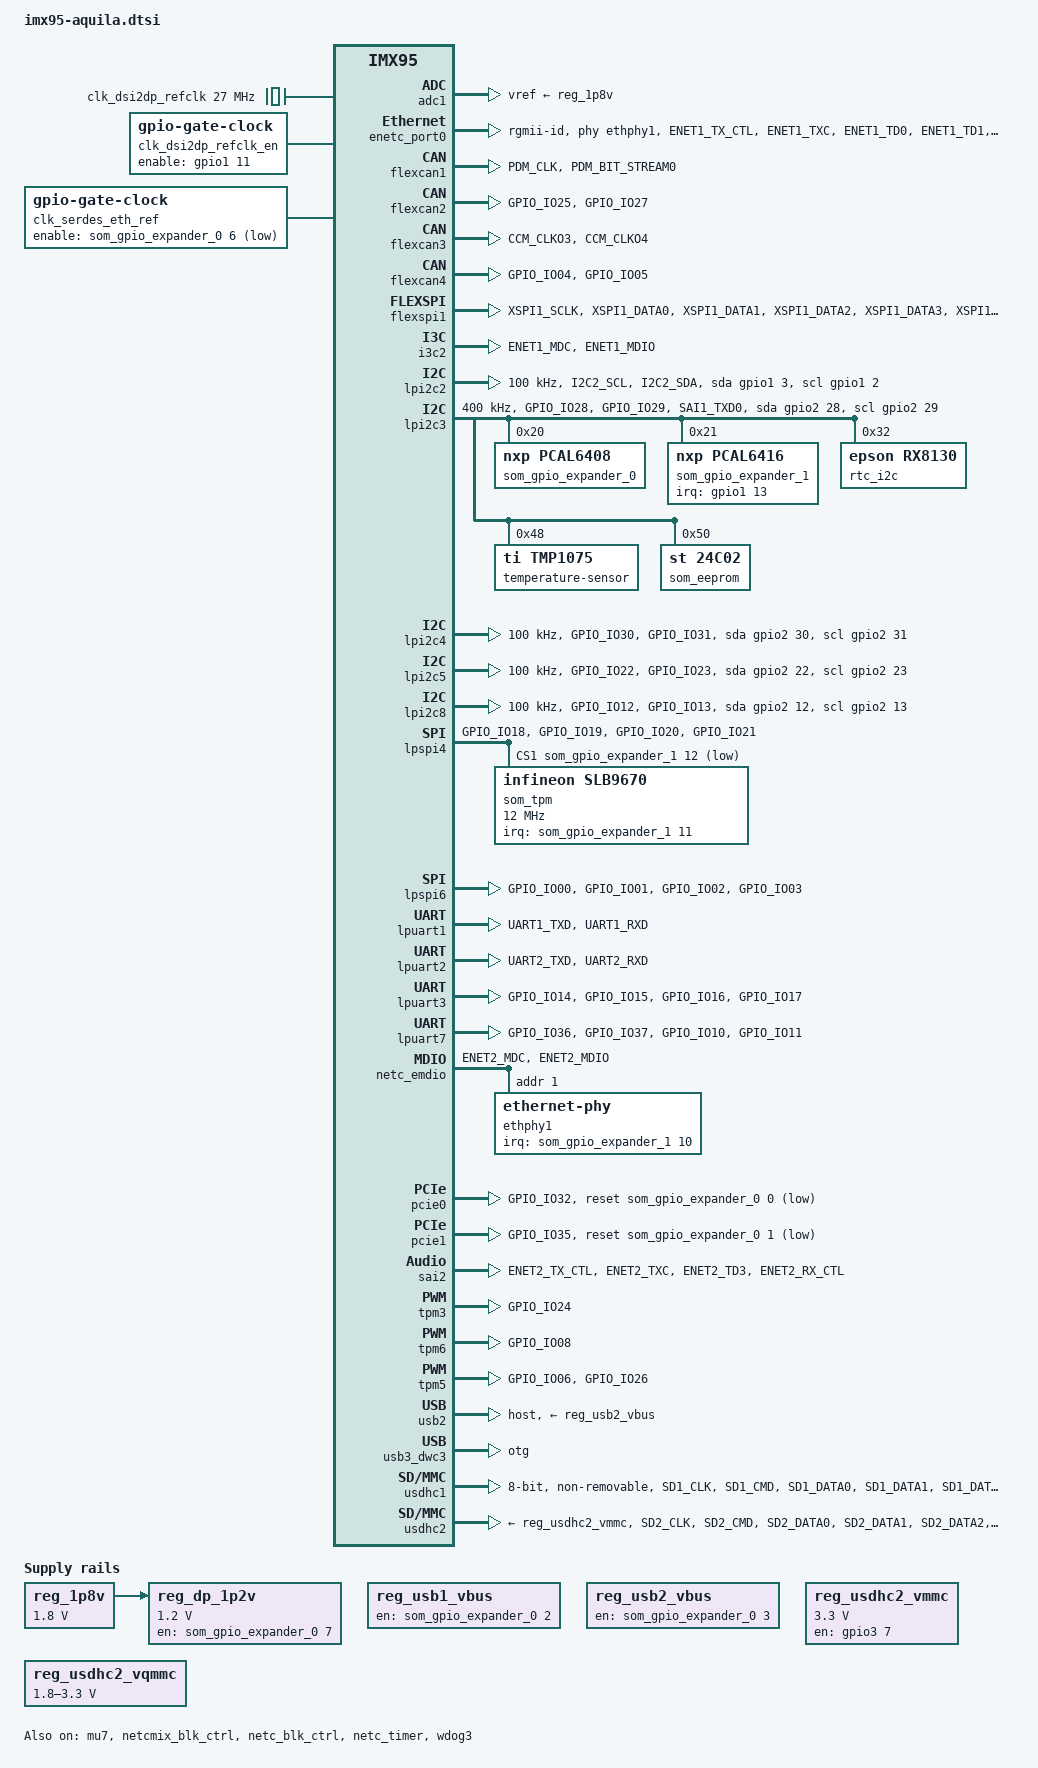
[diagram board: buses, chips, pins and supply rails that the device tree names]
// SPDX-License-Identifier: GPL-2.0-or-later OR MIT
/*
 * Copyright (c) Toradex
 *
 * https://www.toradex.com/computer-on-modules/aquila-arm-family/nxp-imx95
 */

#include <dt-bindings/net/ti-dp83867.h>
#include "imx95.dtsi"

/ {
	aliases {
		can0 = &flexcan1;
		can1 = &flexcan2;
		can2 = &flexcan3;
		can3 = &flexcan4;
		eeprom0 = &som_eeprom;
		ethernet0 = &enetc_port0;
		i2c0 = &lpi2c3;
		i2c1 = &lpi2c2;
		i2c2 = &i3c2;
		i2c3 = &lpi2c8;
		i2c4 = &lpi2c4;
		i2c6 = &lpi2c5;
		mmc0 = &usdhc1;
		mmc1 = &usdhc2;
		rtc0 = &rtc_i2c;
		rtc1 = &scmi_bbm;
		serial0 = &lpuart3;
		serial1 = &lpuart7;
		serial2 = &lpuart1;
		serial3 = &lpuart2;
		usb0 = &usb3;
		usb1 = &usb2;
	};

	chosen {
		stdout-path = "serial2:115200n8";
	};

	aquila_key_wake: gpio-key-wakeup {
		compatible = "gpio-keys";
		pinctrl-names = "default";
		pinctrl-0 = <&pinctrl_ctrl_wake1_mico>;

		status = "disabled";

		key-wakeup {
			/* Aquila CTRL_WAKE1_MICO# */
			gpios = <&gpio5 11 GPIO_ACTIVE_LOW>;
			label = "Wake Up";
			wakeup-source;
			linux,code = <KEY_WAKEUP>;
		};
	};

	clk_dsi2dp_refclk: clock-dsi2dp-refclk {
		compatible = "fixed-clock";
		#clock-cells = <0>;
		clock-frequency = <27000000>;
	};

	clk_dsi2dp_refclk_en: clock-dsi2dp-refclk-en {
		compatible = "gpio-gate-clock";
		pinctrl-names = "default";
		pinctrl-0 = <&pinctrl_ctrl_dp_clk_en>;
		clocks = <&clk_dsi2dp_refclk>;
		#clock-cells = <0>;
		/* CTRL_DP_CLK_EN */
		enable-gpios = <&gpio1 11 GPIO_ACTIVE_HIGH>;
	};

	clk_serdes_eth_ref: clock-serdes-eth-ref {
		compatible = "gpio-gate-clock";
		#clock-cells = <0>;
		/* CTRL_ETH_REF_CLK_STBY */
		enable-gpios = <&som_gpio_expander_0 6 GPIO_ACTIVE_LOW>;
	};

	reg_1p8v: regulator-1p8v {
		compatible = "regulator-fixed";
		regulator-max-microvolt = <1800000>;
		regulator-min-microvolt = <1800000>;
		regulator-name = "On-module +V1.8";
	};

	reg_dp_1p2v: regulator-dp-1p2v {
		compatible = "regulator-fixed";
		/* CTRL_DP_BRIDGE_EN */
		gpios = <&som_gpio_expander_0 7 GPIO_ACTIVE_HIGH>;
		enable-active-high;
		regulator-always-on;
		regulator-max-microvolt = <1200000>;
		regulator-min-microvolt = <1200000>;
		regulator-name = "On-module +V1.2_DP";
		vin-supply = <&reg_1p8v>;
	};

	reg_usb1_vbus: regulator-usb1-vbus {
		compatible = "regulator-fixed";
		/* Aquila USB_1_EN */
		gpios = <&som_gpio_expander_0 2 GPIO_ACTIVE_HIGH>;
		enable-active-high;
		regulator-name = "USB_1_EN";
	};

	reg_usb2_vbus: regulator-usb2-vbus {
		compatible = "regulator-fixed";
		/* Aquila USB_2_EN */
		gpios = <&som_gpio_expander_0 3 GPIO_ACTIVE_HIGH>;
		enable-active-high;
		regulator-name = "USB_2_H_EN";
	};

	reg_usdhc2_vmmc: regulator-usdhc2-vmmc {
		compatible = "regulator-fixed";
		pinctrl-names = "default";
		pinctrl-0 = <&pinctrl_sd1_pwr_en>;
		/* Aquila SD_1_PWR_EN */
		gpios = <&gpio3 7 GPIO_ACTIVE_HIGH>;
		enable-active-high;
		off-on-delay-us = <100000>;
		regulator-max-microvolt = <3300000>;
		regulator-min-microvolt = <3300000>;
		regulator-name = "SD_1_PWR_EN";
		startup-delay-us = <20000>;
	};

	reg_usdhc2_vqmmc: regulator-usdhc2-vqmmc {
		compatible = "regulator-gpio";
		/* PMIC_SD_1_VSEL */
		gpios = <&som_gpio_expander_1 9 GPIO_ACTIVE_HIGH>;
		regulator-max-microvolt = <3300000>;
		regulator-min-microvolt = <1800000>;
		regulator-name = "PMIC_SD_1_VSEL";
		states = <1800000 0x1>,
			 <3300000 0x0>;
	};

	remoteproc-cm7 {
		compatible = "fsl,imx95-cm7";
		mboxes = <&mu7 0 1 &mu7 1 1 &mu7 3 1>;
		mbox-names = "tx", "rx", "rxdb";
		memory-region = <&vdevbuffer>, <&vdev0vring0>, <&vdev0vring1>,
				<&vdev1vring0>, <&vdev1vring1>, <&rsc_table>, <&m7_reserved>;
	};

	reserved-memory {
		#address-cells = <2>;
		#size-cells = <2>;
		ranges;

		linux_cma: linux,cma {
			compatible = "shared-dma-pool";
			reusable;
			size = <0 0x3c000000>;
			alloc-ranges = <0 0x80000000 0 0x7f000000>;
			linux,cma-default;
		};

		m7_reserved: memory@80000000 {
			reg = <0 0x80000000 0 0x1000000>;
			no-map;
		};

		rsc_table: rsc-table@88220000 {
			reg = <0 0x88220000 0 0x1000>;
			no-map;
		};

		vdev0vring0: vdev0vring0@88000000 {
			reg = <0 0x88000000 0 0x8000>;
			no-map;
		};

		vdev0vring1: vdev0vring1@88008000 {
			reg = <0 0x88008000 0 0x8000>;
			no-map;
		};

		vdev1vring0: vdev1vring0@88010000 {
			reg = <0 0x88010000 0 0x8000>;
			no-map;
		};

		vdev1vring1: vdev1vring1@88018000 {
			reg = <0 0x88018000 0 0x8000>;
			no-map;
		};

		vdevbuffer: vdevbuffer@88020000 {
			compatible = "shared-dma-pool";
			reg = <0 0x88020000 0 0x100000>;
			no-map;
		};
	};
};

/* Aquila ADC_[1-4] */
&adc1 {
	vref-supply = <&reg_1p8v>;
};

/* Aquila ETH_1 */
&enetc_port0 {
	pinctrl-names = "default";
	pinctrl-0 = <&pinctrl_enetc0>;
	phy-handle = <&ethphy1>;
	phy-mode = "rgmii-id";
};

/* Aquila CAN_1 */
&flexcan1 {
	pinctrl-names = "default";
	pinctrl-0 = <&pinctrl_flexcan1>;
};

/* Aquila CAN_2 */
&flexcan2 {
	pinctrl-names = "default";
	pinctrl-0 = <&pinctrl_flexcan2>;
};

/* Aquila CAN_3 */
&flexcan3 {
	pinctrl-names = "default";
	pinctrl-0 = <&pinctrl_flexcan3>;
};

/* Aquila CAN_4 */
&flexcan4 {
	pinctrl-names = "default";
	pinctrl-0 = <&pinctrl_flexcan4>;
};

/* Aquila QSPI_1 */
&flexspi1 {
	pinctrl-names = "default";
	pinctrl-0 = <&pinctrl_flexspi1_8bit>,
		    <&pinctrl_qspi_cs1>;
};

&gpio1 {
	gpio-line-names = "", /* 0 */
			  "",
			  "",
			  "",
			  "",
			  "",
			  "",
			  "",
			  "",
			  "",
			  "AQUILA_C24", /* 10 */
			  "",
			  "AQUILA_B17",
			  "CTRL_GPIO_EXP_INT#",
			  "AQUILA_B18";

	status = "okay";
};

&gpio2 {
	gpio-line-names = "", /* 0 */
			  "",
			  "",
			  "",
			  "",
			  "",
			  "",
			  "AQUILA_B42",
			  "",
			  "AQUILA_B43";
};

&gpio3 {
	gpio-line-names = "", /* 0 */
			  "",
			  "",
			  "",
			  "",
			  "",
			  "",
			  "",
			  "",
			  "",
			  "", /* 10 */
			  "",
			  "",
			  "",
			  "",
			  "",
			  "",
			  "",
			  "",
			  "AQUILA_A11",
			  "", /* 20 */
			  "AQUILA_B57",
			  "AQUILA_B19";
};

&gpio4 {
	gpio-line-names = "", /* 0 */
			  "",
			  "",
			  "",
			  "",
			  "",
			  "",
			  "",
			  "",
			  "",
			  "", /* 10 */
			  "",
			  "",
			  "",
			  "",
			  "",
			  "",
			  "AQUILA_C22",
			  "AQUILA_C21",
			  "AQUILA_C20",
			  "", /* 20 */
			  "",
			  "",
			  "AQUILA_C23",
			  "AQUILA_D23",
			  "AQUILA_D24",
			  "",
			  "AQUILA_D25";
};

&gpio5 {
	gpio-line-names = "", /* 0 */
			  "",
			  "",
			  "",
			  "",
			  "",
			  "",
			  "",
			  "",
			  "",
			  "", /* 10 */
			  "",
			  "",
			  "AQUILA_B44",
			  "AQUILA_B45";
};

/* Aquila I2C_2 */
&i3c2 {
	pinctrl-names = "default";
	pinctrl-0 = <&pinctrl_i3c2>;
	i2c-scl-hz = <100000>;
};

/* Aquila I2C_1 */
&lpi2c2 {
	pinctrl-names = "default", "gpio";
	pinctrl-0 = <&pinctrl_lpi2c2>;
	pinctrl-1 = <&pinctrl_lpi2c2_gpio>;
	#address-cells = <1>;
	#size-cells = <0>;
	clock-frequency = <100000>;
	scl-gpios = <&gpio1 2 (GPIO_ACTIVE_HIGH | GPIO_OPEN_DRAIN)>;
	sda-gpios = <&gpio1 3 (GPIO_ACTIVE_HIGH | GPIO_OPEN_DRAIN)>;
};

/* On-module I2C - I2C_SOM */
&lpi2c3 {
	pinctrl-names = "default", "gpio";
	pinctrl-0 = <&pinctrl_lpi2c3>, <&pinctrl_ctrl_gpio_exp_int>;
	pinctrl-1 = <&pinctrl_lpi2c3_gpio>, <&pinctrl_ctrl_gpio_exp_int>;
	#address-cells = <1>;
	#size-cells = <0>;
	clock-frequency = <400000>;
	scl-gpios = <&gpio2 29 (GPIO_ACTIVE_HIGH | GPIO_OPEN_DRAIN)>;
	sda-gpios = <&gpio2 28 (GPIO_ACTIVE_HIGH | GPIO_OPEN_DRAIN)>;

	status = "okay";

	som_gpio_expander_0: gpio@20 {
		compatible = "nxp,pcal6408";
		reg = <0x20>;
		#gpio-cells = <2>;
		gpio-controller;
		gpio-line-names =
			"AQUILA_C38", /* 0 */
			"PCIE_2_RESET#",
			"AQUILA_B77",
			"USB_2_H_EN",
			"BT_DISABLE#",
			"WIFI_DISABLE#",
			"CTRL_ETH_REF_CLK_STBY",
			"CTRL_DP_BRIDGE_EN";
	};

	som_gpio_expander_1: gpio@21 {
		compatible = "nxp,pcal6416";
		reg = <0x21>;
		#interrupt-cells = <2>;
		interrupt-controller;
		interrupt-parent = <&gpio1>;
		interrupts = <13 IRQ_TYPE_LEVEL_LOW>;
		#gpio-cells = <2>;
		gpio-controller;
		gpio-line-names =
			"AQUILA_C1", /* 0 */
			"AQUILA_C2",
			"AQUILA_C3",
			"AQUILA_C4",
			"AQUILA_C36",
			"AQUILA_B74",
			"AQUILA_B75",
			"USB_2_H_OC#",
			"AQUILA_B81",
			"PMIC_SD_1_VSEL",
			"ETH_1_INT#", /* 10 */
			"CTRL_TPM_INT#",
			"SPI_2_CS2_TPM",
			"PCIE_WAKE_WIFI#",
			"WIFI_WAKE_BT",
			"WIFI_WAKEUP_HOST";
	};

	som_dsi2dp_bridge: bridge@2c {
		compatible = "ti,sn65dsi86";
		reg = <0x2c>;
		clocks = <&clk_dsi2dp_refclk_en>;
		clock-names = "refclk";
		vcc-supply = <&reg_dp_1p2v>;
		vcca-supply = <&reg_dp_1p2v>;
		vccio-supply = <&reg_1p8v>;
		vpll-supply = <&reg_1p8v>;

		status = "disabled";

		ports {
			#address-cells = <1>;
			#size-cells = <0>;

			port@0 {
				reg = <0>;

				dsi2dp_in: endpoint {
				};
			};

			port@1 {
				reg = <1>;

				dsi2dp_out: endpoint {
					data-lanes = <3 2 1 0>;
				};
			};
		};
	};

	rtc_i2c: rtc@32 {
		compatible = "epson,rx8130";
		reg = <0x32>;
	};

	temperature-sensor@48 {
		compatible = "ti,tmp1075";
		reg = <0x48>;
	};

	som_eeprom: eeprom@50 {
		compatible = "st,24c02", "atmel,24c02";
		reg = <0x50>;
		pagesize = <16>;
	};
};

/* Aquila I2C_4_CSI1 */
&lpi2c4 {
	pinctrl-names = "default", "gpio";
	pinctrl-0 = <&pinctrl_lpi2c4>;
	pinctrl-1 = <&pinctrl_lpi2c4_gpio>;
	#address-cells = <1>;
	#size-cells = <0>;
	clock-frequency = <100000>;
	scl-gpios = <&gpio2 31 (GPIO_ACTIVE_HIGH | GPIO_OPEN_DRAIN)>;
	sda-gpios = <&gpio2 30 (GPIO_ACTIVE_HIGH | GPIO_OPEN_DRAIN)>;
};

/* Aquila I2C_6 */
&lpi2c5 {
	pinctrl-names = "default", "gpio";
	pinctrl-0 = <&pinctrl_lpi2c5>;
	pinctrl-1 = <&pinctrl_lpi2c5_gpio>;
	#address-cells = <1>;
	#size-cells = <0>;
	clock-frequency = <100000>;
	scl-gpios = <&gpio2 23 (GPIO_ACTIVE_HIGH | GPIO_OPEN_DRAIN)>;
	sda-gpios = <&gpio2 22 (GPIO_ACTIVE_HIGH | GPIO_OPEN_DRAIN)>;
};

/* Aquila I2C_3_DSI1/I2C_5_CSI2 */
&lpi2c8 {
	pinctrl-names = "default", "gpio";
	pinctrl-0 = <&pinctrl_lpi2c8>;
	pinctrl-1 = <&pinctrl_lpi2c8_gpio>;
	#address-cells = <1>;
	#size-cells = <0>;
	clock-frequency = <100000>;
	scl-gpios = <&gpio2 13 (GPIO_ACTIVE_HIGH | GPIO_OPEN_DRAIN)>;
	sda-gpios = <&gpio2 12 (GPIO_ACTIVE_HIGH | GPIO_OPEN_DRAIN)>;
};

/* Aquila SPI_2 */
&lpspi4 {
	pinctrl-names = "default";
	pinctrl-0 = <&pinctrl_lpspi4>;
	cs-gpios = <&gpio2 18 GPIO_ACTIVE_LOW>,
		   <&som_gpio_expander_1 12 GPIO_ACTIVE_LOW>;

	status = "okay";

	som_tpm: tpm@1 {
		compatible = "infineon,slb9670", "tcg,tpm_tis-spi";
		reg = <0x1>;
		interrupt-parent = <&som_gpio_expander_1>;
		interrupts = <11 IRQ_TYPE_EDGE_FALLING>;
		/*
		 * Maximum TPM-supported speed is 18.5 MHz, limited to 12 MHz
		 * here as lpspi4's per-clock (2x the max speed) is 24 MHz.
		 */
		spi-max-frequency = <12000000>;
	};
};

/* Aquila SPI_1 */
&lpspi6 {
	pinctrl-names = "default";
	pinctrl-0 = <&pinctrl_lpspi6>;
	cs-gpios = <&gpio2 0 GPIO_ACTIVE_LOW>;
};

/* Aquila UART_3, used as the Linux Console */
&lpuart1 {
	pinctrl-names = "default";
	pinctrl-0 = <&pinctrl_uart1>;
};

/* Aquila UART_4 */
&lpuart2 {
	pinctrl-names = "default";
	pinctrl-0 = <&pinctrl_uart2>;
};

/* Aquila UART_1 */
&lpuart3 {
	pinctrl-names = "default";
	pinctrl-0 = <&pinctrl_uart3>;
	uart-has-rtscts;
};

/* Aquila UART_2 */
&lpuart7 {
	pinctrl-names = "default";
	pinctrl-0 = <&pinctrl_uart7>;
	uart-has-rtscts;
};

&mu7 {
	status = "okay";
};

/* Aquila ETH_2_XGMII_MDIO, shared between all ethernet ports */
&netc_emdio {
	pinctrl-names = "default";
	pinctrl-0 = <&pinctrl_emdio>;

	status = "okay";

	ethphy1: ethernet-phy@1 {
		reg = <1>;
		interrupt-parent = <&som_gpio_expander_1>;
		interrupts = <10 IRQ_TYPE_EDGE_FALLING>;
		ti,rx-internal-delay = <DP83867_RGMIIDCTL_2_00_NS>;
		ti,tx-internal-delay = <DP83867_RGMIIDCTL_2_00_NS>;
	};
};

&netcmix_blk_ctrl {
	status = "okay";
};

&netc_blk_ctrl {
	status = "okay";
};

&netc_timer {
	status = "okay";
};

/* Aquila PCIE_1 */
&pcie0 {
	pinctrl-names = "default";
	pinctrl-0 = <&pinctrl_pcie0>;
	reset-gpios = <&som_gpio_expander_0 0 GPIO_ACTIVE_LOW>;
};

/* On-module Wi-Fi or Aquila PCIE_2 */
&pcie1 {
	pinctrl-names = "default";
	pinctrl-0 = <&pinctrl_pcie1>;
	reset-gpios = <&som_gpio_expander_0 1 GPIO_ACTIVE_LOW>;

	status = "okay";
};

/* Aquila I2S_1 */
&sai2 {
	pinctrl-names = "default";
	pinctrl-0 = <&pinctrl_sai2>;
	assigned-clocks = <&scmi_clk IMX95_CLK_AUDIOPLL1_VCO>,
			  <&scmi_clk IMX95_CLK_AUDIOPLL2_VCO>,
			  <&scmi_clk IMX95_CLK_AUDIOPLL1>,
			  <&scmi_clk IMX95_CLK_AUDIOPLL2>,
			  <&scmi_clk IMX95_CLK_SAI2>;
	assigned-clock-parents = <0>, <0>, <0>, <0>,
				 <&scmi_clk IMX95_CLK_AUDIOPLL1>;
	assigned-clock-rates = <3932160000>,
			       <3612672000>, <393216000>,
			       <361267200>, <12288000>;
	#sound-dai-cells = <0>;
	fsl,sai-mclk-direction-output;
};

&scmi_bbm {
	linux,code = <KEY_POWER>;
};

&thermal_zones {
	/* PF09 Main PMIC */
	pf09-thermal {
		polling-delay = <2000>;
		polling-delay-passive = <250>;
		thermal-sensors = <&scmi_sensor 2>;

		trips {
			trip0 {
				hysteresis = <2000>;
				temperature = <155000>;
				type = "critical";
			};
		};
	};

	/* PF53 VDD_ARM PMIC */
	pf53-arm-thermal {
		polling-delay = <2000>;
		polling-delay-passive = <250>;
		thermal-sensors = <&scmi_sensor 4>;

		trips {
			trip0 {
				hysteresis = <2000>;
				temperature = <155000>;
				type = "critical";
			};
		};
	};

	/* PF53 VDD_SOC PMIC */
	pf53-soc-thermal {
		polling-delay = <2000>;
		polling-delay-passive = <250>;
		thermal-sensors = <&scmi_sensor 3>;

		trips {
			trip0 {
				hysteresis = <2000>;
				temperature = <155000>;
				type = "critical";
			};
		};
	};
};

/* Aquila PWM_1 */
&tpm3 {
	pinctrl-names = "default";
	pinctrl-0 = <&pinctrl_pwm1>;
};

/* Aquila PWM_2 */
&tpm6 {
	pinctrl-names = "default";
	pinctrl-0 = <&pinctrl_pwm2>;
};

/* Aquila PWM_3_DSI and PWM_4_DP */
&tpm5 {
	pinctrl-names = "default";
	pinctrl-0 = <&pinctrl_pwm3_dsi>, <&pinctrl_pwm4_dp>;
};

/* Aquila USB_2, optional Bluetooth USB */
&usb2 {
	dr_mode = "host";
	vbus-supply = <&reg_usb2_vbus>;
};

/* Aquila USB_1 */
&usb3 {
	fsl,disable-port-power-control;
};

&usb3_dwc3 {
	dr_mode = "otg";
	adp-disable;
	hnp-disable;
	srp-disable;
	usb-role-switch;
};

&usb3_phy {
	vbus-supply = <&reg_usb1_vbus>;
};

/* On-module eMMC */
&usdhc1 {
	pinctrl-names = "default", "state_100mhz", "state_200mhz";
	pinctrl-0 = <&pinctrl_usdhc1>;
	pinctrl-1 = <&pinctrl_usdhc1>;
	pinctrl-2 = <&pinctrl_usdhc1_200mhz>;
	bus-width = <8>;
	non-removable;
	no-sdio;
	no-sd;

	status = "okay";
};

/* Aquila SD_1 */
&usdhc2 {
	pinctrl-names = "default", "state_100mhz", "state_200mhz", "sleep";
	pinctrl-0 = <&pinctrl_usdhc2>, <&pinctrl_sd1_cd_gpio>;
	pinctrl-1 = <&pinctrl_usdhc2>, <&pinctrl_sd1_cd_gpio>;
	pinctrl-2 = <&pinctrl_usdhc2_200mhz>,<&pinctrl_sd1_cd_gpio>;
	pinctrl-3 = <&pinctrl_usdhc2_sleep>, <&pinctrl_sd1_cd_gpio>;
	cd-gpios = <&gpio3 0 GPIO_ACTIVE_LOW>;
	vmmc-supply = <&reg_usdhc2_vmmc>;
	vqmmc-supply = <&reg_usdhc2_vqmmc>;
};

&wdog3 {
	fsl,ext-reset-output;

	status = "okay";
};

&scmi_iomuxc {
	/* Aquila CTRL_WAKE1_MICO# */
	pinctrl_ctrl_wake1_mico: ctrlwake1micogrp {
		fsl,pins = <IMX95_PAD_XSPI1_SS1_B__GPIO5_IO_BIT11	0x31e>; /* Aquila D6 */
	};

	pinctrl_ctrl_dp_clk_en: dpclkengrp {
		fsl,pins = <IMX95_PAD_SAI1_TXFS__AONMIX_TOP_GPIO1_IO_BIT11	0x11e>; /* CTRL_DP_CLK_EN */
	};

	/* Aquila ETH_2_XGMII_MDIO */
	pinctrl_emdio: emdiogrp {
		fsl,pins = <IMX95_PAD_ENET2_MDC__NETCMIX_TOP_NETC_MDC	0x57e>, /* Aquila B90 */
			   <IMX95_PAD_ENET2_MDIO__NETCMIX_TOP_NETC_MDIO	0x97e>; /* Aquila B89 */
	};

	/* Aquila ETH_1 */
	pinctrl_enetc0: enetc0grp {
		fsl,pins = <IMX95_PAD_ENET1_TX_CTL__NETCMIX_TOP_ETH0_RGMII_TX_CTL	0x57e>, /* ENET1_TX_CTL */
			   <IMX95_PAD_ENET1_TXC__NETCMIX_TOP_ETH0_RGMII_TX_CLK		0x58e>, /* ENET1_TXC    */
			   <IMX95_PAD_ENET1_TD0__NETCMIX_TOP_ETH0_RGMII_TD0		0x50e>, /* ENET1_TDO    */
			   <IMX95_PAD_ENET1_TD1__NETCMIX_TOP_ETH0_RGMII_TD1		0x50e>, /* ENET1_TD1    */
			   <IMX95_PAD_ENET1_TD2__NETCMIX_TOP_ETH0_RGMII_TD2		0x50e>, /* ENET1_TD2    */
			   <IMX95_PAD_ENET1_TD3__NETCMIX_TOP_ETH0_RGMII_TD3		0x50e>, /* ENET1_TD3    */
			   <IMX95_PAD_ENET1_RX_CTL__NETCMIX_TOP_ETH0_RGMII_RX_CTL	0x57e>, /* ENET1_RX_CTL */
			   <IMX95_PAD_ENET1_RXC__NETCMIX_TOP_ETH0_RGMII_RX_CLK		0x58e>, /* ENET1_RXC    */
			   <IMX95_PAD_ENET1_RD0__NETCMIX_TOP_ETH0_RGMII_RD0		0x57e>, /* ENET1_RD0    */
			   <IMX95_PAD_ENET1_RD1__NETCMIX_TOP_ETH0_RGMII_RD1		0x57e>, /* ENET1_RD1    */
			   <IMX95_PAD_ENET1_RD2__NETCMIX_TOP_ETH0_RGMII_RD2		0x57e>, /* ENET1_RD2    */
			   <IMX95_PAD_ENET1_RD3__NETCMIX_TOP_ETH0_RGMII_RD3		0x57e>; /* ENET1_RD3    */
	};

	/* Aquila CAN_1 */
	pinctrl_flexcan1: flexcan1grp {
		fsl,pins = <IMX95_PAD_PDM_CLK__AONMIX_TOP_CAN1_TX		0x39e>, /* Aquila B48 */
			   <IMX95_PAD_PDM_BIT_STREAM0__AONMIX_TOP_CAN1_RX	0x39e>; /* Aquila B49 */
	};

	/* Aquila CAN_2 */
	pinctrl_flexcan2: flexcan2grp {
		fsl,pins = <IMX95_PAD_GPIO_IO25__CAN2_TX	0x39e>, /* Aquila B50 */
			   <IMX95_PAD_GPIO_IO27__CAN2_RX	0x39e>; /* Aquila B51 */
	};

	/* Aquila CAN_3 */
	pinctrl_flexcan3: flexcan3grp {
		fsl,pins = <IMX95_PAD_CCM_CLKO3__CAN3_TX	0x39e>, /* Aquila B53 */
			   <IMX95_PAD_CCM_CLKO4__CAN3_RX	0x39e>; /* Aquila B54 */
	};

	/* Aquila CAN_4 */
	pinctrl_flexcan4: flexcan4grp {
		fsl,pins = <IMX95_PAD_GPIO_IO04__CAN4_TX	0x39e>, /* Aquila B55 */
			   <IMX95_PAD_GPIO_IO05__CAN4_RX	0x39e>; /* Aquila B56 */
	};

	/* Aquila QSPI_1 (4 bit) */
	pinctrl_flexspi1_4bit: flexspi14bitgrp {
		fsl,pins = <IMX95_PAD_XSPI1_SCLK__FLEXSPI1_A_SCLK	0x3fe>, /* Aquila B65 */
			   <IMX95_PAD_XSPI1_DATA0__FLEXSPI1_A_DATA_BIT0	0x3fe>, /* Aquila B68 */
			   <IMX95_PAD_XSPI1_DATA1__FLEXSPI1_A_DATA_BIT1	0x3fe>, /* Aquila B67 */
			   <IMX95_PAD_XSPI1_DATA2__FLEXSPI1_A_DATA_BIT2	0x3fe>, /* Aquila B61 */
			   <IMX95_PAD_XSPI1_DATA3__FLEXSPI1_A_DATA_BIT3	0x3fe>, /* Aquila B60 */
			   <IMX95_PAD_XSPI1_DQS__FLEXSPI1_A_DQS		0x3fe>; /* Aquila B63 */
	};

	/* Aquila QSPI_1 (8 bit) */
	pinctrl_flexspi1_8bit: flexspi18bitgrp {
		fsl,pins = <IMX95_PAD_XSPI1_SCLK__FLEXSPI1_A_SCLK	0x3fe>, /* Aquila B65 */
			   <IMX95_PAD_XSPI1_DATA0__FLEXSPI1_A_DATA_BIT0	0x3fe>, /* Aquila B68 */
			   <IMX95_PAD_XSPI1_DATA1__FLEXSPI1_A_DATA_BIT1	0x3fe>, /* Aquila B67 */
			   <IMX95_PAD_XSPI1_DATA2__FLEXSPI1_A_DATA_BIT2	0x3fe>, /* Aquila B61 */
			   <IMX95_PAD_XSPI1_DATA3__FLEXSPI1_A_DATA_BIT3	0x3fe>, /* Aquila B60 */
			   <IMX95_PAD_XSPI1_DATA4__FLEXSPI1_A_DATA_BIT4	0x3fe>, /* Aquila B70 */
			   <IMX95_PAD_XSPI1_DATA5__FLEXSPI1_A_DATA_BIT5	0x3fe>, /* Aquila B71 */
			   <IMX95_PAD_XSPI1_DATA6__FLEXSPI1_A_DATA_BIT6	0x3fe>, /* Aquila B72 */
			   <IMX95_PAD_XSPI1_DATA7__FLEXSPI1_A_DATA_BIT7	0x3fe>, /* Aquila B73 */
			   <IMX95_PAD_XSPI1_DQS__FLEXSPI1_A_DQS		0x3fe>; /* Aquila B63 */
	};

	/* Aquila GPIO_01 */
	pinctrl_gpio_1: gpio1grp {
		fsl,pins = <IMX95_PAD_ENET2_RD0__GPIO4_IO_BIT24	0x31e>; /* Aquila D23 */
	};

	/* Aquila GPIO_02 */
	pinctrl_gpio_2: gpio2grp {
		fsl,pins = <IMX95_PAD_ENET2_RD1__GPIO4_IO_BIT25	0x31e>; /* Aquila D24 */
	};

	/* Aquila GPIO_03 */
	pinctrl_gpio_3: gpio3grp {
		fsl,pins = <IMX95_PAD_ENET2_RD3__GPIO4_IO_BIT27	0x31e>; /* Aquila D25 */
	};

	/* Aquila GPIO_04 */
	pinctrl_gpio_4: gpio4grp {
		fsl,pins = <IMX95_PAD_ENET2_TD0__GPIO4_IO_BIT19	0x31e>; /* Aquila C20 */
	};

	/* Aquila GPIO_05 */
	pinctrl_gpio_5: gpio5grp {
		fsl,pins = <IMX95_PAD_ENET2_TD1__GPIO4_IO_BIT18	0x31e>; /* Aquila C21 */
	};

	/* Aquila GPIO_06 */
	pinctrl_gpio_6: gpio6grp {
		fsl,pins = <IMX95_PAD_ENET2_TD2__GPIO4_IO_BIT17	0x31e>; /* Aquila C22 */
	};

	/* Aquila GPIO_07 */
	pinctrl_gpio_7: gpio7grp {
		fsl,pins = <IMX95_PAD_ENET2_RXC__GPIO4_IO_BIT23	0x31e>; /* Aquila C23 */
	};

	/* Aquila GPIO_08 */
	pinctrl_gpio_8: gpio8grp {
		fsl,pins = <IMX95_PAD_PDM_BIT_STREAM1__AONMIX_TOP_GPIO1_IO_BIT10	0x31e>; /* Aquila C24 */
	};

	/* Aquila GPIO_09_CSI_1 */
	pinctrl_gpio_9_csi_1: gpio9csi1grp {
		fsl,pins = <IMX95_PAD_SAI1_TXC__AONMIX_TOP_GPIO1_IO_BIT12	0x31e>; /* Aquila B17 */
	};

	/* Aquila GPIO_10_CSI_1 */
	pinctrl_gpio_10_csi_1: gpio10csi1grp {
		fsl,pins = <IMX95_PAD_SAI1_RXD0__AONMIX_TOP_GPIO1_IO_BIT14	0x31e>; /* Aquila B18 */
	};

	/* Aquila GPIO_11_CSI_1 */
	pinctrl_gpio_11_csi_1: gpio11csi1grp {
		fsl,pins = <IMX95_PAD_SD2_VSELECT__GPIO3_IO_BIT19	0x31e>; /* Aquila A11*/
	};

	/* Aquila GPIO_12_CSI_1 */
	pinctrl_gpio_12_csi_1: gpio12csi1grp {
		fsl,pins = <IMX95_PAD_SD3_DATA0__GPIO3_IO_BIT22	0x31e>; /* Aquila B19 */
	};

	/* Aquila GPIO_17_DSI_1 */
	pinctrl_gpio_17_dsi_1: gpio17dsi1grp {
		fsl,pins = <IMX95_PAD_GPIO_IO07__GPIO2_IO_BIT7	0x31e>; /* Aquila B42 */
	};

	/* Aquila GPIO_18_DSI_1 */
	pinctrl_gpio_18_dsi_1: gpio18dsi1grp {
		fsl,pins = <IMX95_PAD_GPIO_IO09__GPIO2_IO_BIT9	0x31e>; /* Aquila B43 */
	};

	/* Aquila GPIO_19_DSI_1 */
	pinctrl_gpio_19_dsi_1: gpio19dsi1grp {
		fsl,pins = <IMX95_PAD_GPIO_IO33__GPIO5_IO_BIT13	0x31e>; /* Aquila B44 */
	};

	/* Aquila GPIO_20_DSI_1 */
	pinctrl_gpio_20_dsi_1: gpio20dsi1grp {
		fsl,pins = <IMX95_PAD_GPIO_IO34__GPIO5_IO_BIT14	0x31e>; /* Aquila B45 */
	};

	/* Aquila GPIO_21_DP */
	pinctrl_gpio_21_dp: gpio21dpgrp {
		fsl,pins = <IMX95_PAD_SD3_CMD__GPIO3_IO_BIT21	0x31e>; /* Aquila B57 */
	};

	pinctrl_ctrl_gpio_exp_int: gpioexpintgrp {
		fsl,pins = <IMX95_PAD_SAI1_TXD0__AONMIX_TOP_GPIO1_IO_BIT13	0x31e>; /* CTRL_GPIO_EXP_INT# */
	};

	/* Aquila I2C_2 */
	pinctrl_i3c2: i3c2cgrp {
		fsl,pins = <IMX95_PAD_ENET1_MDC__I3C2_SCL	0x40001186>, /* Aquila C17 */
			   <IMX95_PAD_ENET1_MDIO__I3C2_SDA	0x40001186>; /* Aquila C16 */
	};

	/* Aquila I2C_1 as GPIOs */
	pinctrl_lpi2c2_gpio: lpi2c2gpiogrp {
		fsl,pins = <IMX95_PAD_I2C2_SCL__AONMIX_TOP_GPIO1_IO_BIT2	0x40001b9e>, /* Aquila D8 */
			   <IMX95_PAD_I2C2_SDA__AONMIX_TOP_GPIO1_IO_BIT3	0x40001b9e>; /* Aquila D7 */
	};

	/* Aquila I2C_1 */
	pinctrl_lpi2c2: lpi2c2grp {
		fsl,pins = <IMX95_PAD_I2C2_SCL__AONMIX_TOP_LPI2C2_SCL	0x40001b9e>, /* Aquila D8 */
			   <IMX95_PAD_I2C2_SDA__AONMIX_TOP_LPI2C2_SDA	0x40001b9e>; /* Aquila D7 */
	};

	/* On-module I2C as GPIOs */
	pinctrl_lpi2c3_gpio: lpi2c3gpiogrp {
		fsl,pins = <IMX95_PAD_GPIO_IO28__GPIO2_IO_BIT28	0x40001b9e>, /* I2C_SOM_SDA */
			   <IMX95_PAD_GPIO_IO29__GPIO2_IO_BIT29	0x40001b9e>; /* I2C_SOM_SCL */
	};

	/* On-module I2C */
	pinctrl_lpi2c3: lpi2c3grp {
		fsl,pins = <IMX95_PAD_GPIO_IO28__LPI2C3_SDA	0x40001b9e>, /* I2C_SOM_SDA */
			   <IMX95_PAD_GPIO_IO29__LPI2C3_SCL	0x40001b9e>; /* I2C_SOM_SCL */
	};

	/* Aquila I2C_4_CSI1 as GPIO */
	pinctrl_lpi2c4_gpio: lpi2c4gpiogrp {
		fsl,pins = <IMX95_PAD_GPIO_IO30__GPIO2_IO_BIT30	0x40001b9e>, /* Aquila A12 */
			   <IMX95_PAD_GPIO_IO31__GPIO2_IO_BIT31	0x40001b9e>; /* Aquila A13 */
	};

	/* Aquila I2C_4_CSI1 */
	pinctrl_lpi2c4: lpi2c4grp {
		fsl,pins = <IMX95_PAD_GPIO_IO30__LPI2C4_SDA	0x40001b9e>, /* Aquila A12 */
			   <IMX95_PAD_GPIO_IO31__LPI2C4_SCL	0x40001b9e>; /* Aquila A13 */
	};

	/* Aquila I2C_6 as GPIO */
	pinctrl_lpi2c5_gpio: lpi2c5gpiogrp {
		fsl,pins = <IMX95_PAD_GPIO_IO22__GPIO2_IO_BIT22	0x40001b9e>, /* Aquila C18 */
			   <IMX95_PAD_GPIO_IO23__GPIO2_IO_BIT23	0x40001b9e>; /* Aquila C19 */
	};

	/* Aquila I2C_6 */
	pinctrl_lpi2c5: lpi2c5grp {
		fsl,pins = <IMX95_PAD_GPIO_IO22__LPI2C5_SDA	0x40001b9e>, /* Aquila C18 */
			   <IMX95_PAD_GPIO_IO23__LPI2C5_SCL	0x40001b9e>; /* Aquila C19 */
	};

	/* Aquila I2C_3_DSI1/I2C_5_CSI2 as GPIO */
	pinctrl_lpi2c8_gpio: lpi2c8gpiogrp {
		fsl,pins = <IMX95_PAD_GPIO_IO12__GPIO2_IO_BIT12	0x40001b9e>, /* Aquila C5/B40 */
			   <IMX95_PAD_GPIO_IO13__GPIO2_IO_BIT13	0x40001b9e>; /* Aquila C6/B41 */
	};

	/* Aquila I2C_3_DSI1/I2C_5_CSI2 */
	pinctrl_lpi2c8: lpi2c8grp {
		fsl,pins = <IMX95_PAD_GPIO_IO12__LPI2C8_SDA	0x40001b9e>, /* Aquila C5/B40 */
			   <IMX95_PAD_GPIO_IO13__LPI2C8_SCL	0x40001b9e>; /* Aquila C6/B41 */
	};

	/* Aquila SPI_2 */
	pinctrl_lpspi4: lpspi4grp {
		fsl,pins = <IMX95_PAD_GPIO_IO18__GPIO2_IO_BIT18	0x3fe>, /* Aquila D16 */
			   <IMX95_PAD_GPIO_IO19__LPSPI4_SIN	0x3fe>, /* Aquila D15 */
			   <IMX95_PAD_GPIO_IO20__LPSPI4_SOUT	0x3fe>, /* Aquila D17 */
			   <IMX95_PAD_GPIO_IO21__LPSPI4_SCK	0x3fe>; /* Aquila D14 */
	};

	/* Aquila SPI_1 */
	pinctrl_lpspi6: lpspi6grp {
		fsl,pins = <IMX95_PAD_GPIO_IO00__GPIO2_IO_BIT0	0x3fe>, /* Aquila D9 */
			   <IMX95_PAD_GPIO_IO01__LPSPI6_SIN	0x3fe>, /* Aquila D10 */
			   <IMX95_PAD_GPIO_IO02__LPSPI6_SOUT	0x3fe>, /* Aquila D11 */
			   <IMX95_PAD_GPIO_IO03__LPSPI6_SCK	0x3fe>; /* Aquila D12 */
	};

	/* Aquila PCIE_1 */
	pinctrl_pcie0: pcie0grp {
		fsl,pins = <IMX95_PAD_GPIO_IO32__HSIOMIX_TOP_PCIE1_CLKREQ_B	0x40001b1e>; /* Aquila C37 */
	};

	/* Aquila PCIE_2 */
	pinctrl_pcie1: pcie1grp {
		fsl,pins = <IMX95_PAD_GPIO_IO35__HSIOMIX_TOP_PCIE2_CLKREQ_B	0x40001b1e>; /* Aquila C34 */
	};

	/* Aquila QSPI_1_CS1# */
	pinctrl_qspi_cs1: qspics1grp {
		fsl,pins = <IMX95_PAD_XSPI1_SS0_B__FLEXSPI1_A_SS0_B	0x3fe>; /* Aquila B66 */
	};

	/* Aquila QSPI_1_CS2# as GPIO */
	pinctrl_qspi_cs2_gpio: qspics2gpiogrp {
		fsl,pins = <IMX95_PAD_CCM_CLKO2__GPIO3_IO_BIT27	0x3fe>; /* Aquila B62 */
	};

	/* Aquila I2S_1 */
	pinctrl_sai2: sai2grp {
		fsl,pins = <IMX95_PAD_ENET2_TX_CTL__NETCMIX_TOP_SAI2_TX_SYNC		0x11e>, /* Aquila B21 */
			   <IMX95_PAD_ENET2_TXC__NETCMIX_TOP_SAI2_TX_BCLK		0x11e>, /* Aquila B20 */
			   <IMX95_PAD_ENET2_TD3__NETCMIX_TOP_SAI2_RX_DATA_BIT0		0x11e>, /* Aquila B23 */
			   <IMX95_PAD_ENET2_RX_CTL__NETCMIX_TOP_SAI2_TX_DATA_BIT0	0x11e>; /* Aquila B22 */
	};

	pinctrl_sai2_mclk: sai2mclkgrp {
		fsl,pins = <IMX95_PAD_ENET2_RD2__NETCMIX_TOP_SAI2_MCLK	0x31e>; /* Aquila B24 */
	};

	/* Aquila SD_1_CD# as GPIO */
	pinctrl_sd1_cd_gpio: sd1cdgpiogrp {
		fsl,pins = <IMX95_PAD_SD2_CD_B__GPIO3_IO_BIT0	0x1100>; /* Aquila A1 */
	};

	/* Aquila SD_1_PWR_EN */
	pinctrl_sd1_pwr_en: sd1pwrengpiogrp {
		fsl,pins = <IMX95_PAD_SD2_RESET_B__GPIO3_IO_BIT7	0x11e>; /* Aquila A6 */
	};

	/* Aquila PWM_1 */
	pinctrl_pwm1: tpm3ch3grp {
		fsl,pins = <IMX95_PAD_GPIO_IO24__TPM3_CH3	0x11e>; /* Aquila C25 */
	};

	/* Aquila PWM_3_DSI as GPIO */
	pinctrl_pwm3_dsi_gpio: tpm5ch0gpiogrp {
		fsl,pins = <IMX95_PAD_GPIO_IO06__GPIO2_IO_BIT6	0x11e>; /* Aquila B46 */
	};

	/* Aquila PWM_3_DSI */
	pinctrl_pwm3_dsi: tpm5ch0grp {
		fsl,pins = <IMX95_PAD_GPIO_IO06__TPM5_CH0	0x11e>; /* Aquila B46 */
	};

	/* Aquila PWM_4_DP */
	pinctrl_pwm4_dp: tpm5ch3grp {
		fsl,pins = <IMX95_PAD_GPIO_IO26__TPM5_CH3	0x11e>; /* Aquila B58 */
	};

	/* Aquila PWM_2 */
	pinctrl_pwm2: tpm6ch0grp {
		fsl,pins = <IMX95_PAD_GPIO_IO08__TPM6_CH0	0x11e>; /* Aquila C26 */
	};

	/* Aquila UART_3 */
	pinctrl_uart1: uart1grp {
		fsl,pins = <IMX95_PAD_UART1_TXD__AONMIX_TOP_LPUART1_TX	0x31e>, /* Aquila D20 */
			   <IMX95_PAD_UART1_RXD__AONMIX_TOP_LPUART1_RX	0x31e>; /* Aquila D19 */
	};

	/* Aquila UART_4 */
	pinctrl_uart2: uart2grp {
		fsl,pins = <IMX95_PAD_UART2_TXD__AONMIX_TOP_LPUART2_TX	0x31e>, /* Aquila D22 */
			   <IMX95_PAD_UART2_RXD__AONMIX_TOP_LPUART2_RX	0x31e>; /* Aquila D21 */
	};

	/* Aquila UART_1 */
	pinctrl_uart3: uart3grp {
		fsl,pins = <IMX95_PAD_GPIO_IO14__LPUART3_TX	0x31e>, /* Aquila B37 */
			   <IMX95_PAD_GPIO_IO15__LPUART3_RX	0x31e>, /* Aquila B35 */
			   <IMX95_PAD_GPIO_IO16__LPUART3_CTS_B	0x31e>, /* Aquila B36 */
			   <IMX95_PAD_GPIO_IO17__LPUART3_RTS_B	0x31e>; /* Aquila B38 */
	};

	/* Aquila UART_2 */
	pinctrl_uart7: uart7grp {
		fsl,pins = <IMX95_PAD_GPIO_IO36__LPUART7_TX	0x31e>, /* Aquila B33 */
			   <IMX95_PAD_GPIO_IO37__LPUART7_RX	0x31e>, /* Aquila B31 */
			   <IMX95_PAD_GPIO_IO10__LPUART7_CTS_B	0x31e>, /* Aquila B32 */
			   <IMX95_PAD_GPIO_IO11__LPUART7_RTS_B	0x31e>; /* Aquila B34 */
	};

	/* On-module eMMC */
	pinctrl_usdhc1: usdhc1grp {
		fsl,pins = <IMX95_PAD_SD1_CLK__USDHC1_CLK	0x158e>, /* eMMC_CLK    */
			   <IMX95_PAD_SD1_CMD__USDHC1_CMD	0x138e>, /* eMMC_CMD    */
			   <IMX95_PAD_SD1_DATA0__USDHC1_DATA0	0x138e>, /* eMMC_DATA0  */
			   <IMX95_PAD_SD1_DATA1__USDHC1_DATA1	0x138e>, /* eMMC_DATA1  */
			   <IMX95_PAD_SD1_DATA2__USDHC1_DATA2	0x138e>, /* eMMC_DATA2  */
			   <IMX95_PAD_SD1_DATA3__USDHC1_DATA3	0x138e>, /* eMMC_DATA3  */
			   <IMX95_PAD_SD1_DATA4__USDHC1_DATA4	0x138e>, /* eMMC_DATA4  */
			   <IMX95_PAD_SD1_DATA5__USDHC1_DATA5	0x138e>, /* eMMC_DATA5  */
			   <IMX95_PAD_SD1_DATA6__USDHC1_DATA6	0x138e>, /* eMMC_DATA6  */
			   <IMX95_PAD_SD1_DATA7__USDHC1_DATA7	0x138e>, /* eMMC_DATA7  */
			   <IMX95_PAD_SD1_STROBE__USDHC1_STROBE	0x158e>; /* eMMC_STROBE */
	};

	pinctrl_usdhc1_200mhz: usdhc1-200mhzgrp {
		fsl,pins = <IMX95_PAD_SD1_CLK__USDHC1_CLK	0x15fe>, /* eMMC_CLK    */
			   <IMX95_PAD_SD1_CMD__USDHC1_CMD	0x13fe>, /* eMMC_CMD    */
			   <IMX95_PAD_SD1_DATA0__USDHC1_DATA0	0x13fe>, /* eMMC_DATA0  */
			   <IMX95_PAD_SD1_DATA1__USDHC1_DATA1	0x13fe>, /* eMMC_DATA1  */
			   <IMX95_PAD_SD1_DATA2__USDHC1_DATA2	0x13fe>, /* eMMC_DATA2  */
			   <IMX95_PAD_SD1_DATA3__USDHC1_DATA3	0x13fe>, /* eMMC_DATA3  */
			   <IMX95_PAD_SD1_DATA4__USDHC1_DATA4	0x13fe>, /* eMMC_DATA4  */
			   <IMX95_PAD_SD1_DATA5__USDHC1_DATA5	0x13fe>, /* eMMC_DATA5  */
			   <IMX95_PAD_SD1_DATA6__USDHC1_DATA6	0x13fe>, /* eMMC_DATA6  */
			   <IMX95_PAD_SD1_DATA7__USDHC1_DATA7	0x13fe>, /* eMMC_DATA7  */
			   <IMX95_PAD_SD1_STROBE__USDHC1_STROBE	0x15fe>; /* eMMC_STROBE */
	};

	/* Aquila SD_1 */
	pinctrl_usdhc2: usdhc2grp {
		fsl,pins = <IMX95_PAD_SD2_CLK__USDHC2_CLK	0x158e>, /* Aquila A5  */
			   <IMX95_PAD_SD2_CMD__USDHC2_CMD	0x138e>, /* Aquila A7  */
			   <IMX95_PAD_SD2_DATA0__USDHC2_DATA0	0x138e>, /* Aquila A3  */
			   <IMX95_PAD_SD2_DATA1__USDHC2_DATA1	0x138e>, /* Aquila A2  */
			   <IMX95_PAD_SD2_DATA2__USDHC2_DATA2	0x138e>, /* Aquila A10 */
			   <IMX95_PAD_SD2_DATA3__USDHC2_DATA3	0x138e>; /* Aquila A8  */
	};

	pinctrl_usdhc2_200mhz: usdhc2-200mhzgrp {
		fsl,pins = <IMX95_PAD_SD2_CLK__USDHC2_CLK	0x15fe>, /* Aquila A5  */
			   <IMX95_PAD_SD2_CMD__USDHC2_CMD	0x13fe>, /* Aquila A7  */
			   <IMX95_PAD_SD2_DATA0__USDHC2_DATA0	0x13fe>, /* Aquila A3  */
			   <IMX95_PAD_SD2_DATA1__USDHC2_DATA1	0x13fe>, /* Aquila A2  */
			   <IMX95_PAD_SD2_DATA2__USDHC2_DATA2	0x13fe>, /* Aquila A10 */
			   <IMX95_PAD_SD2_DATA3__USDHC2_DATA3	0x13fe>; /* Aquila A8  */
	};

	pinctrl_usdhc2_sleep: usdhc2-sleepgrp {
		fsl,pins = <IMX95_PAD_SD2_CLK__USDHC2_CLK	0x400>, /* Aquila A5  */
			   <IMX95_PAD_SD2_CMD__USDHC2_CMD	0x400>, /* Aquila A7  */
			   <IMX95_PAD_SD2_DATA0__USDHC2_DATA0	0x400>, /* Aquila A3  */
			   <IMX95_PAD_SD2_DATA1__USDHC2_DATA1	0x400>, /* Aquila A2  */
			   <IMX95_PAD_SD2_DATA2__USDHC2_DATA2	0x400>, /* Aquila A10 */
			   <IMX95_PAD_SD2_DATA3__USDHC2_DATA3	0x400>; /* Aquila A8  */
	};
};
